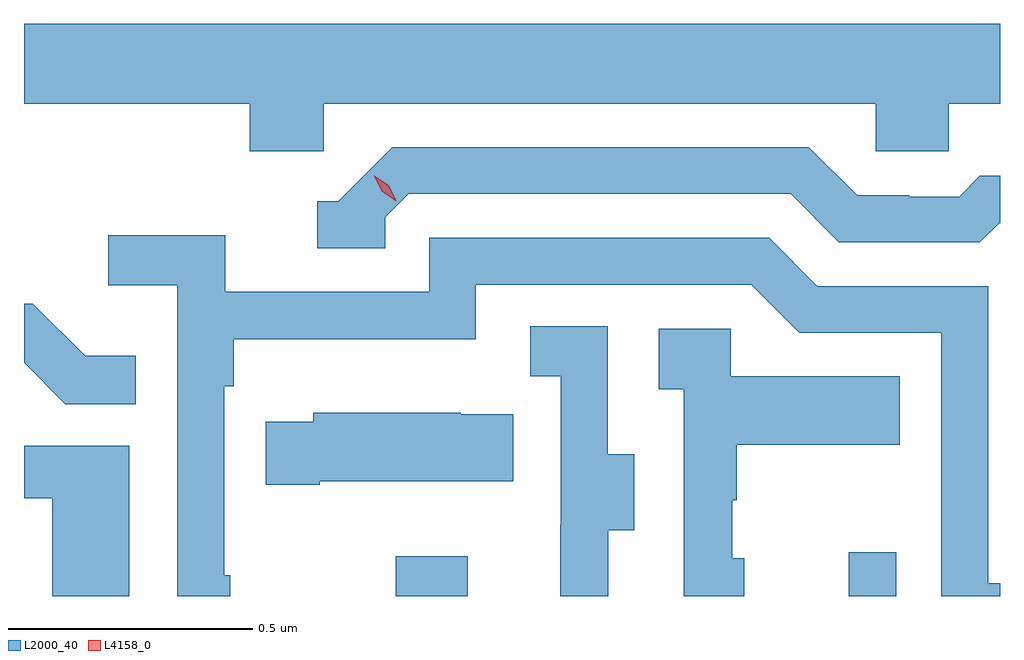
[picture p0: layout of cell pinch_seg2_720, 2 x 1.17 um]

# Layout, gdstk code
import gdstk
lib = gdstk.Library(unit=1e-6, precision=1e-09)
def R(c, l, rs):  # rectangles x0, y0, x1, y1
    for r in rs: c.add(gdstk.rectangle(r[:2], r[2:], *l))
def P(c, l, *ps):  # polygons
    for p in ps: c.add(gdstk.Polygon(p, *l))
L2000_40 = (2000, 40)
L4158_0 = (4158, 0)

pinch_seg2_720 = lib.new_cell('pinch_seg2_720')
R(pinch_seg2_720, L2000_40, [(1137.742,593.346,1137.889,593.428), (1138.67,593.346,1138.767,593.437)])
P(pinch_seg2_720, L2000_40, [(1137.594,594.356),(1138.725,594.356),(1138.725,594.258),(1138.875,594.258),(1138.875,594.356),(1138.98,594.356),(1138.98,594.52),(1136.98,594.52),(1136.98,594.356),(1137.443,594.356),(1137.443,594.258),(1137.594,594.258)],
  [(1137.72,594.123),(1137.768,594.171),(1138.551,594.171),(1138.65,594.072),(1138.939,594.072),(1138.978,594.111),(1138.98,594.111),(1138.98,594.208),(1138.939,594.208),(1138.897,594.165),(1138.794,594.165),(1138.794,594.168),(1138.687,594.168),(1138.588,594.267),(1137.735,594.267),(1137.624,594.156),(1137.581,594.156),(1137.581,594.06),(1137.72,594.06)],
  [(1137.403,593.389),(1137.39,593.389),(1137.39,593.777),(1137.41,593.777),(1137.41,593.873),(1137.906,593.873),(1137.906,593.985),(1138.47,593.985),(1138.569,593.886),(1138.86,593.886),(1138.86,593.346),(1138.98,593.346),(1138.98,593.373),(1138.956,593.373),(1138.956,593.982),(1138.606,593.982),(1138.507,594.081),(1137.81,594.081),(1137.81,593.97),(1137.392,593.97),(1137.392,594.086),(1137.153,594.086),(1137.153,593.984),(1137.294,593.984),(1137.294,593.346),(1137.403,593.346)],
  [(1137.209,593.839),(1137.105,593.839),(1136.998,593.946),(1136.98,593.946),(1136.98,593.825),(1137.065,593.74),(1137.209,593.74)],
  [(1138.177,593.482),(1138.231,593.482),(1138.231,593.637),(1138.176,593.637),(1138.176,593.9),(1138.017,593.9),(1138.017,593.797),(1138.08,593.797),(1138.08,593.493),(1138.079,593.493),(1138.079,593.346),(1138.177,593.346)],
  [(1138.456,593.424),(1138.431,593.424),(1138.431,593.543),(1138.441,593.543),(1138.441,593.657),(1138.775,593.657),(1138.775,593.797),(1138.428,593.797),(1138.428,593.895),(1138.281,593.895),(1138.281,593.771),(1138.332,593.771),(1138.332,593.346),(1138.456,593.346)],
  [(1137.586,593.582),(1137.983,593.582),(1137.983,593.719),(1137.875,593.719),(1137.875,593.722),(1137.573,593.722),(1137.573,593.704),(1137.475,593.704),(1137.475,593.575),(1137.586,593.575)],
  [(1137.196,593.655),(1136.98,593.655),(1136.98,593.547),(1137.038,593.547),(1137.038,593.346),(1137.196,593.346)])
P(pinch_seg2_720, L4158_0, [(1137.743,594.156),(1137.713,594.176),(1137.697,594.209),(1137.697,594.209),(1137.697,594.209),(1137.727,594.189),(1137.743,594.157),(1137.743,594.156)])

lib.write_gds('pinch_seg2_720.gds')
